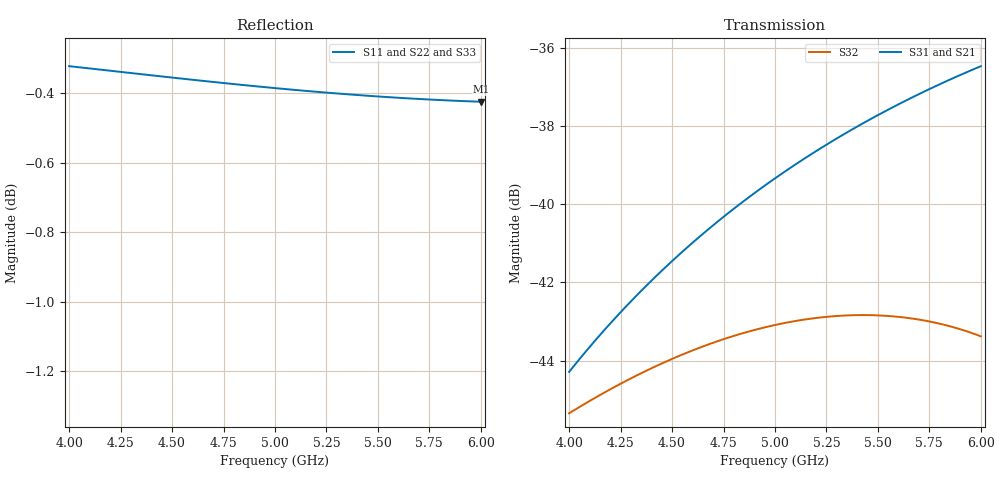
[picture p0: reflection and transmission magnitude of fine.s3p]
! yapnr rf: divider-osh-w-robust, footprint re-simulated (refine 2)
! spec sha256 f072ce9885e97b327236de2692c1743046cec8157b5d87c414d6f32f2c01234a
! 3 ports renormalized to 50 ohm, e^(+jwt) convention
# GHz S RI R 50
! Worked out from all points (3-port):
!   81 points, 4 GHz to 6 GHz, reference 50 ohm
!   strongest paths, dB at 4 GHz, 4.5 GHz, 5 GHz, 5.5 GHz, 6 GHz:
!     S31: -44.3, -41.5, -39.3, -37.7, -36.5
!     S21: -44.3, -41.5, -39.3, -37.7, -36.5
!     S32: -45.3, -44.0, -43.1, -42.8, -43.4
!   lowest |S11| = -0.4 dB at 6 GHz (marker M1), VSWR 40.93, Z = 1.22 - j2.29 ohm
!   |S11| at or under -10 dB: nowhere
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4  -0.4182 -0.8681  -0.00403 0.00448  -0.00403 0.00448
   -0.00444 0.00419  -0.421 -0.8683  -0.00376 -0.00389
   -0.00444 0.00419  -0.00376 -0.00389  -0.421 -0.8683
4.225  -0.514 -0.8132  -0.00392 0.00582  -0.00392 0.00582
       -0.00456 0.00551  -0.516 -0.8138  -0.00496 -0.0031
       -0.00456 0.00551  -0.00496 -0.0031  -0.516 -0.8138
4.475  -0.6123 -0.7396  -0.00339 0.00734  -0.00339 0.00734
       -0.00435 0.00712  -0.6139 -0.7409  -0.00603 -0.00181
       -0.00435 0.00712  -0.00603 -0.00181  -0.6139 -0.7409
4.75  -0.7088 -0.6449  -0.00228 0.00888  -0.00228 0.00888
      -0.00361 0.00893  -0.7105 -0.6467  -0.00672 -3.64e-05
      -0.00361 0.00893  -0.00672 -3.64e-05  -0.7105 -0.6467
5  -0.7843 -0.5477  -0.000848 0.01  -0.000848 0.01
   -0.00244 0.0105  -0.7866 -0.5495  -0.00679 0.00173
   -0.00244 0.0105  -0.00679 0.00173  -0.7866 -0.5495
5.25  -0.847 -0.4415  0.000916 0.0108  0.000916 0.0108
      -0.000793 0.0119  -0.85 -0.4426  -0.0063 0.00344
      -0.000793 0.0119  -0.0063 0.00344  -0.85 -0.4426
5.5  -0.8958 -0.3281  0.0029 0.0111  0.0029 0.0111
     0.0013 0.0129  -0.8996 -0.3276  -0.0053 0.00489
     0.0013 0.0129  -0.0053 0.00489  -0.8996 -0.3276
5.75  -0.9297 -0.2093  0.00498 0.011  0.00498 0.011
      0.00377 0.0135  -0.934 -0.2061  -0.00392 0.0059
      0.00377 0.0135  -0.00392 0.0059  -0.934 -0.2061
5.875  -0.941 -0.1484  0.00602 0.0108  0.00602 0.0108
       0.00511 0.0136  -0.9453 -0.1434  -0.00314 0.0062
       0.00511 0.0136  -0.00314 0.0062  -0.9453 -0.1434
6  -0.9483 -0.087  0.00705 0.0104  0.00705 0.0104
   0.0065 0.0135  -0.9524 -0.08  -0.00234 0.00636
   0.0065 0.0135  -0.00234 0.00636  -0.9524 -0.08
